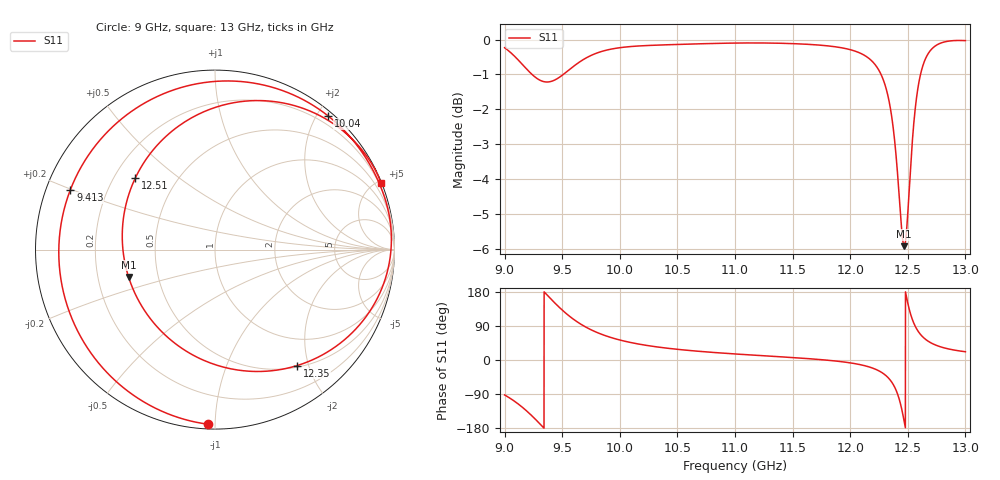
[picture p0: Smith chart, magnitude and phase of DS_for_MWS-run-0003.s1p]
! TOUCHSTONE file generated by CST DESIGN STUDIO
! Date and time: Tue Feb  4 15:51:07 2025
! Project name: C:\Work\MatlabApps\UnitCellOptimizationMatlab\CST\unitcell.cst
! Tree item: Tasks\Sweep1\SPara1\S-Parameters
! Header version: 2024
! Port assignment regex: !\s*Touchstone port\s*([0-9]+)\s*=\s*(CST MWS port|CST DES external port|CST DES block port)\s*(.+)\s* \(\"(.*)\"\)(\s*mode\s*([0-9]+))?.*
! Touchstone port assignment:
! Touchstone port 1 = CST DES external port 1 ("")
# GHz S MA R 50
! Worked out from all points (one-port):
!   4001 points, 9 GHz to 13 GHz, reference 50 ohm
!   lowest |S11| = -5.9 dB at 12.47 GHz (marker M1), VSWR 3.04, Z = 16.8 - j6.86 ohm
!   |S11| at or under -10 dB: nowhere
!   S11 on the Smith chart (normalised r, x): 9 GHz: 0.03, -0.96; 9.413 GHz: 0.07, +0.20; 10.04 GHz: 0.07, +2.15; 12.35 GHz: 0.52, -1.81; 12.51 GHz: 0.29, +0.35; 13 GHz: 0.04, +5.19
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9  0.9738 -92.2
9.096  0.9432 -111.0
9.185  0.9098 -132.7
9.305  0.8748 -168.1
9.413  0.872 157.5
9.5  0.889 131.8
9.588  0.9128 109.7
9.686  0.9369 90.1
9.834  0.9609 68.7
10  0.9738 52.8
10.039  0.9756 49.9
10.5  0.9844 28.2
11  0.9889 16.0
11.5  0.9871 6.4
12  0.9676 -7.6
12.231  0.9138 -25.9
12.299  0.8646 -38.3
12.352  0.7915 -54.8
12.417  0.6232 -94.9
12.469  0.5051 -162.5
12.5  0.5637 149.9
12.509  0.5965 138.2
12.539  0.7132 107.4
12.572  0.8159 84.7
12.623  0.9085 63.1
12.682  0.9578 48.6
12.803  0.991 33.0
13  0.9969 21.8
